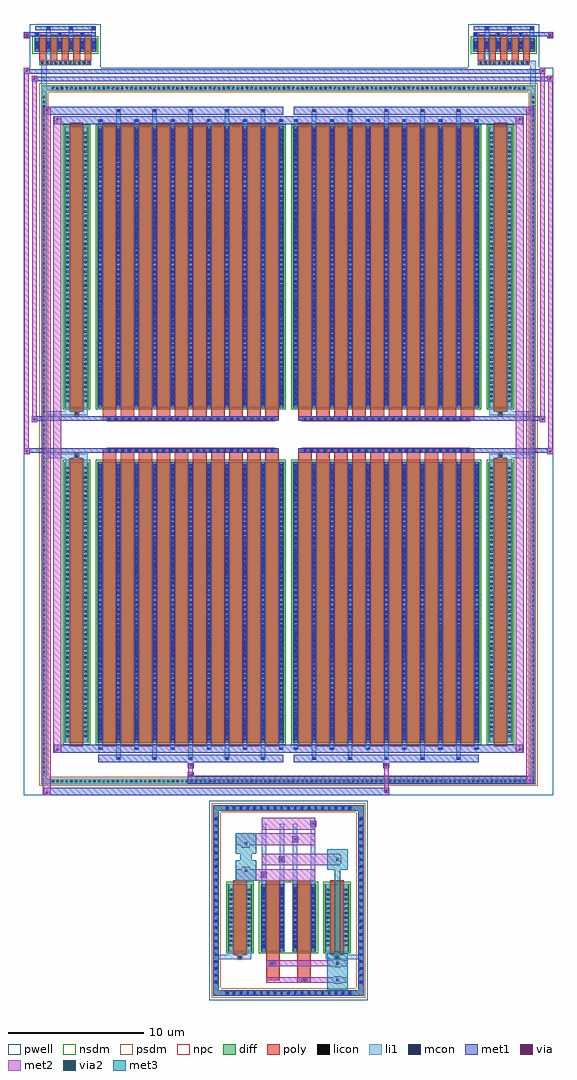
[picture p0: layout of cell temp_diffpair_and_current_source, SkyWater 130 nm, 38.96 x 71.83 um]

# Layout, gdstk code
import gdstk
lib = gdstk.Library(unit=1e-6, precision=5e-09)
def R(c, l, rs):  # rectangles x0, y0, x1, y1
    for r in rs: c.add(gdstk.rectangle(r[:2], r[2:], *l))
def A(c, l, x, y, w, h, nx, ny, dx, dy):  # array of equal rectangles
    R(c, l, [(x+i*dx, y+j*dy, x+i*dx+w, y+j*dy+h) for i in range(nx) for j in range(ny)])
def P(c, l, *ps):  # polygons
    for p in ps: c.add(gdstk.Polygon(p, *l))
pwell = (64, 44)
diff = (65, 20)
poly = (66, 20)
licon = (66, 44)
li1 = (67, 20)
mcon = (67, 44)
met1 = (68, 20)
via = (68, 44)
met2 = (69, 20)
via2 = (69, 44)
met3 = (70, 20)
nsdm = (93, 44)
psdm = (94, 20)
npc = (95, 20)

diff_pair_f8a0ee7f = lib.new_cell('diff_pair_f8a0ee7f')
R(diff_pair_f8a0ee7f, pwell, [(-19.48,-26.56,19.48,26.99), (-16.8,-24.31,-0.01,-0.805), (0.01,-24.31,16.8,-0.805), (-16.8,0.805,-0.01,24.31), (0.01,0.805,16.8,24.31)])
A(diff_pair_f8a0ee7f, diff, -17.545, -25.72, 0.41, 0.41, 103, 2, 0.34, 51.03)
A(diff_pair_f8a0ee7f, diff, -18.21, -25.025, 0.41, 0.41, 1, 147, 0, 0.34)
A(diff_pair_f8a0ee7f, diff, 17.8, -25.025, 0.41, 0.41, 1, 147, 0, 0.34)
R(diff_pair_f8a0ee7f, diff, [(-17.545,-25.72,17.545,-25.31), (-18.21,-25.025,-17.8,25.025), (17.8,-25.025,18.21,25.025), (-16.49,-22.685,-14.71,-1.985), (-14.07,-22.685,-0.32,-1.985), (0.32,-22.685,14.07,-1.985), (14.71,-22.685,16.49,-1.985), (-16.49,1.985,-14.71,22.685), (-14.07,1.985,-0.32,22.685), (0.32,1.985,14.07,22.685), (14.71,1.985,16.49,22.685), (-17.545,25.31,17.545,25.72)])
P(diff_pair_f8a0ee7f, diff, [(18.21,25.72),(-18.21,25.72),(-18.21,-25.31),(-17.8,-25.31),(-17.8,25.31),(17.8,25.31),(17.8,-25.31),(-17.8,-25.31),(-18.21,-25.31),(-18.21,-25.72),(18.21,-25.72)])
A(diff_pair_f8a0ee7f, poly, -13.68, -22.935, 1, 21.2, 10, 2, 1.33, 24.67)
A(diff_pair_f8a0ee7f, poly, 0.71, -22.935, 1, 21.2, 10, 2, 1.33, 24.67)
A(diff_pair_f8a0ee7f, poly, -13.68, -1.735, 1, 0.4, 10, 2, 1.33, 3.07)
A(diff_pair_f8a0ee7f, poly, 0.71, -1.735, 1, 0.4, 10, 2, 1.33, 3.07)
A(diff_pair_f8a0ee7f, poly, -13.36, -1.335, 0.33, 0.33, 25, 2, 0.5, 2.34)
A(diff_pair_f8a0ee7f, poly, 1.03, -1.335, 0.33, 0.33, 25, 2, 0.5, 2.34)
R(diff_pair_f8a0ee7f, poly, [(-16.1,-22.935,-15.1,-1.735), (15.1,-22.935,16.1,-1.735), (-15.765,-1.735,-15.435,-1.405), (-15.765,-1.735,-15.435,-1.405), (15.435,-1.735,15.765,-1.405), (15.435,-1.735,15.765,-1.405), (-13.68,-1.335,-0.71,-1.005), (0.71,-1.335,13.68,-1.005), (-13.68,1.005,-0.71,1.335), (0.71,1.005,13.68,1.335), (-15.765,1.405,-15.435,1.735), (-15.765,1.405,-15.435,1.735), (15.435,1.405,15.765,1.735), (15.435,1.405,15.765,1.735), (-16.1,1.735,-15.1,22.935), (15.1,1.735,16.1,22.935)])
A(diff_pair_f8a0ee7f, licon, -17.425, -25.6, 0.17, 0.17, 103, 2, 0.34, 51.03)
A(diff_pair_f8a0ee7f, licon, -18.09, -24.905, 0.17, 0.17, 1, 147, 0, 0.34)
A(diff_pair_f8a0ee7f, licon, 17.92, -24.905, 0.17, 0.17, 1, 147, 0, 0.34)
A(diff_pair_f8a0ee7f, licon, -16.35, -22.28, 0.17, 0.17, 1, 59, 0, 0.34)
A(diff_pair_f8a0ee7f, licon, -15.02, -22.28, 0.17, 0.17, 1, 59, 0, 0.34)
A(diff_pair_f8a0ee7f, licon, -13.93, -22.28, 0.17, 0.17, 11, 59, 1.33, 0.34)
A(diff_pair_f8a0ee7f, licon, 0.46, -22.28, 0.17, 0.17, 11, 59, 1.33, 0.34)
A(diff_pair_f8a0ee7f, licon, 14.85, -22.28, 0.17, 0.17, 1, 59, 0, 0.34)
A(diff_pair_f8a0ee7f, licon, 16.18, -22.28, 0.17, 0.17, 1, 59, 0, 0.34)
A(diff_pair_f8a0ee7f, licon, -13.28, -1.255, 0.17, 0.17, 25, 2, 0.5, 2.34)
A(diff_pair_f8a0ee7f, licon, 1.11, -1.255, 0.17, 0.17, 25, 2, 0.5, 2.34)
A(diff_pair_f8a0ee7f, licon, -16.35, 2.39, 0.17, 0.17, 1, 59, 0, 0.34)
A(diff_pair_f8a0ee7f, licon, -15.02, 2.39, 0.17, 0.17, 1, 59, 0, 0.34)
A(diff_pair_f8a0ee7f, licon, -13.93, 2.39, 0.17, 0.17, 11, 59, 1.33, 0.34)
A(diff_pair_f8a0ee7f, licon, 0.46, 2.39, 0.17, 0.17, 11, 59, 1.33, 0.34)
A(diff_pair_f8a0ee7f, licon, 14.85, 2.39, 0.17, 0.17, 1, 59, 0, 0.34)
A(diff_pair_f8a0ee7f, licon, 16.18, 2.39, 0.17, 0.17, 1, 59, 0, 0.34)
R(diff_pair_f8a0ee7f, licon, [(-15.685,-1.655,-15.515,-1.485), (15.515,-1.655,15.685,-1.485), (-15.685,1.485,-15.515,1.655), (15.515,1.485,15.685,1.655)])
A(diff_pair_f8a0ee7f, li1, -17.505, -25.68, 0.33, 0.33, 103, 2, 0.34, 51.03)
A(diff_pair_f8a0ee7f, li1, -18.17, -24.985, 0.33, 0.33, 1, 147, 0, 0.34)
A(diff_pair_f8a0ee7f, li1, 17.84, -24.985, 0.33, 0.33, 1, 147, 0, 0.34)
A(diff_pair_f8a0ee7f, li1, -12.68, -23.925, 0.33, 1.24, 5, 2, 2.66, 46.61)
A(diff_pair_f8a0ee7f, li1, -12.6, -23.925, 0.17, 0.17, 5, 2, 2.66, 47.68)
A(diff_pair_f8a0ee7f, li1, 1.71, -23.925, 0.33, 1.24, 5, 2, 2.66, 46.61)
A(diff_pair_f8a0ee7f, li1, 1.79, -23.925, 0.17, 0.17, 5, 2, 2.66, 47.68)
A(diff_pair_f8a0ee7f, li1, -14.01, -23.205, 0.33, 0.52, 6, 2, 2.66, 45.89)
A(diff_pair_f8a0ee7f, li1, -13.93, -23.205, 0.17, 0.17, 6, 2, 2.66, 46.24)
A(diff_pair_f8a0ee7f, li1, 0.38, -23.205, 0.33, 0.52, 6, 2, 2.66, 45.89)
A(diff_pair_f8a0ee7f, li1, 0.46, -23.205, 0.17, 0.17, 6, 2, 2.66, 46.24)
A(diff_pair_f8a0ee7f, li1, -14.01, -22.685, 0.33, 20.7, 11, 2, 1.33, 24.67)
A(diff_pair_f8a0ee7f, li1, 0.38, -22.685, 0.33, 20.7, 11, 2, 1.33, 24.67)
A(diff_pair_f8a0ee7f, li1, -13.93, -22.5, 0.17, 0.17, 11, 57, 1.33, 0.36)
A(diff_pair_f8a0ee7f, li1, -13.93, -22.5, 0.17, 20.33, 11, 2, 1.33, 24.67)
A(diff_pair_f8a0ee7f, li1, 0.46, -22.5, 0.17, 0.17, 11, 57, 1.33, 0.36)
A(diff_pair_f8a0ee7f, li1, 0.46, -22.5, 0.17, 20.33, 11, 2, 1.33, 24.67)
A(diff_pair_f8a0ee7f, li1, -16.43, -22.36, 0.33, 0.33, 1, 59, 0, 0.34)
A(diff_pair_f8a0ee7f, li1, -15.1, -22.36, 0.33, 0.33, 1, 59, 0, 0.34)
A(diff_pair_f8a0ee7f, li1, -14.01, -22.36, 0.33, 0.33, 11, 59, 1.33, 0.34)
A(diff_pair_f8a0ee7f, li1, 0.38, -22.36, 0.33, 0.33, 11, 59, 1.33, 0.34)
A(diff_pair_f8a0ee7f, li1, 14.77, -22.36, 0.33, 0.33, 1, 59, 0, 0.34)
A(diff_pair_f8a0ee7f, li1, 16.1, -22.36, 0.33, 0.33, 1, 59, 0, 0.34)
A(diff_pair_f8a0ee7f, li1, -13.36, -1.335, 0.33, 0.33, 25, 2, 0.5, 2.34)
A(diff_pair_f8a0ee7f, li1, 1.03, -1.335, 0.33, 0.33, 25, 2, 0.5, 2.34)
A(diff_pair_f8a0ee7f, li1, -13.93, 2.17, 0.17, 0.17, 11, 57, 1.33, 0.36)
A(diff_pair_f8a0ee7f, li1, 0.46, 2.17, 0.17, 0.17, 11, 57, 1.33, 0.36)
A(diff_pair_f8a0ee7f, li1, -16.43, 2.31, 0.33, 0.33, 1, 59, 0, 0.34)
A(diff_pair_f8a0ee7f, li1, -15.1, 2.31, 0.33, 0.33, 1, 59, 0, 0.34)
A(diff_pair_f8a0ee7f, li1, -14.01, 2.31, 0.33, 0.33, 11, 59, 1.33, 0.34)
A(diff_pair_f8a0ee7f, li1, 0.38, 2.31, 0.33, 0.33, 11, 59, 1.33, 0.34)
A(diff_pair_f8a0ee7f, li1, 14.77, 2.31, 0.33, 0.33, 1, 59, 0, 0.34)
A(diff_pair_f8a0ee7f, li1, 16.1, 2.31, 0.33, 0.33, 1, 59, 0, 0.34)
R(diff_pair_f8a0ee7f, li1, [(-18.21,-25.72,-17.8,-25.31), (-18.21,-25.72,-17.8,-25.31), (-17.8,-25.72,17.8,-25.31), (17.8,-25.72,18.21,-25.31), (17.8,-25.72,18.21,-25.31), (-18.21,-25.31,-17.8,25.31), (17.8,-25.31,18.21,25.31), (-16.43,-22.685,-16.1,-1.985), (-15.1,-22.685,-14.77,-1.985), (14.77,-22.685,15.1,-1.985), (16.1,-22.685,16.43,-1.985), (-16.43,-1.985,-16.1,-1.405), (-15.1,-1.985,-14.77,-1.405), (14.77,-1.985,15.1,-1.405), (16.1,-1.985,16.43,-1.405), (-18.21,-1.735,-15.765,-1.405), (-16.43,-1.735,-15.765,-1.405), (-15.765,-1.735,-15.435,-1.405), (-15.435,-1.735,-14.77,-1.405), (14.77,-1.735,15.435,-1.405), (15.435,-1.735,15.765,-1.405), (15.435,-1.735,18.21,-1.405), (15.765,-1.735,16.43,-1.405), (-18.21,1.405,-15.765,1.735), (-16.43,1.405,-15.765,1.735), (-16.43,1.405,-16.1,1.985), (-15.765,1.405,-15.435,1.735), (-15.435,1.405,-14.77,1.735), (-15.1,1.405,-14.77,1.985), (14.77,1.405,15.435,1.735), (14.77,1.405,15.1,1.985), (15.435,1.405,15.765,1.735), (15.435,1.405,18.21,1.735), (15.765,1.405,16.43,1.735), (16.1,1.405,16.43,1.985), (-16.43,1.985,-16.1,22.685), (-15.1,1.985,-14.77,22.685), (14.77,1.985,15.1,22.685), (16.1,1.985,16.43,22.685), (-18.21,25.31,-17.8,25.72), (-18.21,25.31,-17.8,25.72), (-17.8,25.31,17.8,25.72), (17.8,25.31,18.21,25.72), (17.8,25.31,18.21,25.72)])
A(diff_pair_f8a0ee7f, mcon, -12.6, -23.925, 0.17, 0.17, 5, 2, 2.66, 47.68)
A(diff_pair_f8a0ee7f, mcon, 1.79, -23.925, 0.17, 0.17, 5, 2, 2.66, 47.68)
A(diff_pair_f8a0ee7f, mcon, -13.93, -23.205, 0.17, 0.17, 6, 2, 2.66, 46.24)
A(diff_pair_f8a0ee7f, mcon, 0.46, -23.205, 0.17, 0.17, 6, 2, 2.66, 46.24)
A(diff_pair_f8a0ee7f, mcon, -13.93, -22.5, 0.17, 0.17, 11, 57, 1.33, 0.36)
A(diff_pair_f8a0ee7f, mcon, 0.46, -22.5, 0.17, 0.17, 11, 57, 1.33, 0.36)
A(diff_pair_f8a0ee7f, mcon, -13.28, -1.255, 0.17, 0.17, 25, 2, 0.5, 2.34)
A(diff_pair_f8a0ee7f, mcon, 1.11, -1.255, 0.17, 0.17, 25, 2, 0.5, 2.34)
A(diff_pair_f8a0ee7f, mcon, -13.93, 2.17, 0.17, 0.17, 11, 57, 1.33, 0.36)
A(diff_pair_f8a0ee7f, mcon, 0.46, 2.17, 0.17, 0.17, 11, 57, 1.33, 0.36)
A(diff_pair_f8a0ee7f, met1, -12.66, -23.985, 0.29, 0.29, 5, 2, 2.66, 47.68)
A(diff_pair_f8a0ee7f, met1, 1.73, -23.985, 0.29, 0.29, 5, 2, 2.66, 47.68)
A(diff_pair_f8a0ee7f, met1, -13.99, -23.265, 0.29, 0.29, 6, 2, 2.66, 46.24)
A(diff_pair_f8a0ee7f, met1, 0.4, -23.265, 0.29, 0.29, 6, 2, 2.66, 46.24)
A(diff_pair_f8a0ee7f, met1, -13.99, -22.685, 0.29, 20.7, 11, 2, 1.33, 24.67)
A(diff_pair_f8a0ee7f, met1, 0.4, -22.685, 0.29, 20.7, 11, 2, 1.33, 24.67)
A(diff_pair_f8a0ee7f, met1, -13.99, -22.56, 0.29, 0.29, 11, 57, 1.33, 0.36)
A(diff_pair_f8a0ee7f, met1, 0.4, -22.56, 0.29, 0.29, 11, 57, 1.33, 0.36)
A(diff_pair_f8a0ee7f, met1, -13.34, -1.315, 0.29, 0.29, 25, 2, 0.5, 2.34)
A(diff_pair_f8a0ee7f, met1, 1.05, -1.315, 0.29, 0.29, 25, 2, 0.5, 2.34)
A(diff_pair_f8a0ee7f, met1, -13.99, 2.11, 0.29, 0.29, 11, 57, 1.33, 0.36)
A(diff_pair_f8a0ee7f, met1, 0.4, 2.11, 0.29, 0.29, 11, 57, 1.33, 0.36)
R(diff_pair_f8a0ee7f, met1, [(-18.015,-26.56,-17.585,-26.13), (-18.015,-26.56,7.41,-25.98), (6.98,-26.41,7.41,-25.98), (-7.41,-25.7,18.015,-25.12), (17.585,-25.7,18.015,-25.27), (-7.41,-25.27,-6.98,-24.84), (-7.41,-24.56,-6.98,-24.13), (6.98,-24.56,7.41,-24.13), (-13.99,-24.13,-0.4,-23.55), (0.4,-24.13,13.99,-23.55), (-17.23,-23.41,-16.8,-22.98), (-17.23,-23.41,-13.99,-22.83), (-13.99,-23.41,-0.4,-22.83), (-0.4,-23.41,0.4,-22.83), (0.4,-23.41,13.99,-22.83), (13.99,-23.41,17.23,-22.83), (16.8,-23.41,17.23,-22.98), (-19.48,-1.435,-19.05,-1.005), (19.05,-1.435,19.48,-1.005), (-19.48,-1.335,-0.71,-1.005), (-13.68,-1.335,-0.71,-1.005), (0.71,-1.335,13.68,-1.005), (0.71,-1.335,19.48,-1.005), (-18.91,0.905,-18.48,1.335), (18.48,0.905,18.91,1.335), (-18.91,1.005,-13.68,1.335), (-13.68,1.005,-0.71,1.335), (0.71,1.005,13.68,1.335), (13.68,1.005,18.91,1.335), (-17.23,22.83,-13.99,23.41), (-13.99,22.83,-0.4,23.41), (-0.4,22.83,0.4,23.41), (0.4,22.83,13.99,23.41), (13.99,22.83,17.23,23.41), (-17.23,22.98,-16.8,23.41), (16.8,22.98,17.23,23.41), (-18.015,23.55,-13.99,24.13), (-13.99,23.55,-0.4,24.13), (0.4,23.55,13.99,24.13), (13.99,23.55,18.015,24.13), (-18.015,23.7,-17.585,24.13), (17.585,23.7,18.015,24.13), (-18.91,25.99,-18.48,26.42), (-18.91,25.99,-16.8,26.32), (-16.8,25.99,16.8,26.32), (16.8,25.99,19.48,26.32), (19.05,25.99,19.48,26.42), (-19.48,26.56,-19.05,26.99), (-19.48,26.56,-16.8,26.89), (-16.8,26.56,16.8,26.89), (16.8,26.56,18.91,26.89), (18.48,26.56,18.91,26.99)])
R(diff_pair_f8a0ee7f, via, [(-17.875,-26.42,-17.725,-26.27), (7.12,-26.27,7.27,-26.12), (17.725,-25.56,17.875,-25.41), (-7.27,-25.13,-7.12,-24.98), (-7.27,-24.42,-7.12,-24.27), (7.12,-24.42,7.27,-24.27), (-17.09,-23.27,-16.94,-23.12), (16.94,-23.27,17.09,-23.12), (-19.34,-1.295,-19.19,-1.145), (19.19,-1.295,19.34,-1.145), (-18.77,1.045,-18.62,1.195), (18.62,1.045,18.77,1.195), (-17.09,23.12,-16.94,23.27), (16.94,23.12,17.09,23.27), (-17.875,23.84,-17.725,23.99), (17.725,23.84,17.875,23.99), (-18.77,26.13,-18.62,26.28), (19.19,26.13,19.34,26.28), (-19.34,26.7,-19.19,26.85), (18.62,26.7,18.77,26.85)])
R(diff_pair_f8a0ee7f, met2, [(-18.09,-26.56,-17.51,24.13), (-18.015,-26.56,-17.585,-26.13), (-17.585,-26.56,-17.51,-26.13), (-17.965,-26.51,-17.635,-26.18), (7.03,-26.36,7.36,-26.03), (7.03,-26.03,7.36,-24.51), (17.51,-25.7,18.09,24.13), (17.585,-25.7,18.015,-25.27), (18.015,-25.7,18.09,-25.27), (17.635,-25.65,17.965,-25.32), (-7.36,-25.22,-7.03,-24.89), (-7.36,-24.89,-7.03,-24.51), (-7.36,-24.51,-7.03,-24.18), (7.03,-24.51,7.36,-24.18), (-17.305,-23.41,-16.725,23.41), (-17.23,-23.41,-16.8,-22.98), (-16.8,-23.41,-16.725,-22.98), (16.725,-23.41,17.305,23.41), (16.8,-23.41,17.23,-22.98), (17.23,-23.41,17.305,-22.98), (-17.18,-23.36,-16.85,-23.03), (16.85,-23.36,17.18,-23.03), (-19.48,-1.435,-19.05,-1.005), (-19.43,-1.435,-19.1,26.99), (-19.1,-1.435,-19.05,-1.005), (19.05,-1.435,19.48,-1.005), (19.1,-1.435,19.43,26.42), (19.43,-1.435,19.48,-1.005), (-19.43,-1.385,-19.1,-1.055), (19.1,-1.385,19.43,-1.055), (-18.91,0.905,-18.48,1.335), (-18.86,0.905,-18.53,26.42), (-18.53,0.905,-18.48,1.335), (18.48,0.905,18.91,1.335), (18.53,0.905,18.86,26.99), (18.86,0.905,18.91,1.335), (-18.86,0.955,-18.53,1.285), (18.53,0.955,18.86,1.285), (-17.23,22.98,-16.8,23.41), (-16.8,22.98,-16.725,23.41), (16.8,22.98,17.23,23.41), (17.23,22.98,17.305,23.41), (-17.18,23.03,-16.85,23.36), (16.85,23.03,17.18,23.36), (-18.015,23.7,-17.585,24.13), (-17.585,23.7,-17.51,24.13), (17.585,23.7,18.015,24.13), (18.015,23.7,18.09,24.13), (-17.965,23.75,-17.635,24.08), (17.635,23.75,17.965,24.08), (-18.91,25.99,-18.48,26.42), (-18.53,25.99,-18.48,26.42), (19.05,25.99,19.48,26.42), (19.43,25.99,19.48,26.42), (-18.86,26.04,-18.53,26.37), (19.1,26.04,19.43,26.37), (-19.48,26.56,-19.05,26.99), (-19.1,26.56,-19.05,26.99), (18.48,26.56,18.91,26.99), (18.86,26.56,18.91,26.99), (-19.43,26.61,-19.1,26.94), (18.53,26.61,18.86,26.94)])
R(diff_pair_f8a0ee7f, nsdm, [(-16.62,-22.815,-14.58,-1.855), (-14.2,-22.815,-0.19,-1.855), (0.19,-22.815,14.2,-1.855), (14.58,-22.815,16.62,-1.855), (-16.62,1.855,-14.58,22.815), (-14.2,1.855,-0.19,22.815), (0.19,1.855,14.2,22.815), (14.58,1.855,16.62,22.815)])
P(diff_pair_f8a0ee7f, psdm, [(18.34,25.85),(-18.34,25.85),(-18.34,-25.18),(-17.67,-25.18),(-17.67,25.18),(17.67,25.18),(17.67,-25.18),(-17.67,-25.18),(-18.34,-25.18),(-18.34,-25.85),(18.34,-25.85)])
A(diff_pair_f8a0ee7f, npc, -13.38, -1.355, 0.37, 0.37, 25, 2, 0.5, 2.34)
A(diff_pair_f8a0ee7f, npc, 1.01, -1.355, 0.37, 0.37, 25, 2, 0.5, 2.34)
R(diff_pair_f8a0ee7f, npc, [(-15.785,-1.755,-15.415,-1.385), (15.415,-1.755,15.785,-1.385), (-13.38,-1.355,-12.51,-0.985), (-13.38,-1.355,-12.51,-0.985), (-12.88,-1.355,-12.01,-0.985), (-12.88,-1.355,-12.01,-0.985), (-12.38,-1.355,-11.51,-0.985), (-12.38,-1.355,-11.51,-0.985), (-11.88,-1.355,-11.01,-0.985), (-11.88,-1.355,-11.01,-0.985), (-11.38,-1.355,-10.51,-0.985), (-11.38,-1.355,-10.51,-0.985), (-10.88,-1.355,-10.01,-0.985), (-10.88,-1.355,-10.01,-0.985), (-10.38,-1.355,-9.51,-0.985), (-10.38,-1.355,-9.51,-0.985), (-9.88,-1.355,-9.01,-0.985), (-9.88,-1.355,-9.01,-0.985), (-9.38,-1.355,-8.51,-0.985), (-9.38,-1.355,-8.51,-0.985), (-8.88,-1.355,-8.01,-0.985), (-8.88,-1.355,-8.01,-0.985), (-8.38,-1.355,-7.51,-0.985), (-8.38,-1.355,-7.51,-0.985), (-7.88,-1.355,-7.01,-0.985), (-7.88,-1.355,-7.01,-0.985), (-7.38,-1.355,-6.51,-0.985), (-7.38,-1.355,-6.51,-0.985), (-6.88,-1.355,-6.01,-0.985), (-6.88,-1.355,-6.01,-0.985), (-6.38,-1.355,-5.51,-0.985), (-6.38,-1.355,-5.51,-0.985), (-5.88,-1.355,-5.01,-0.985), (-5.88,-1.355,-5.01,-0.985), (-5.38,-1.355,-4.51,-0.985), (-5.38,-1.355,-4.51,-0.985), (-4.88,-1.355,-4.01,-0.985), (-4.88,-1.355,-4.01,-0.985), (-4.38,-1.355,-3.51,-0.985), (-4.38,-1.355,-3.51,-0.985), (-3.88,-1.355,-3.01,-0.985), (-3.88,-1.355,-3.01,-0.985), (-3.38,-1.355,-2.51,-0.985), (-3.38,-1.355,-2.51,-0.985), (-2.88,-1.355,-2.01,-0.985), (-2.88,-1.355,-2.01,-0.985), (-2.38,-1.355,-1.51,-0.985), (-2.38,-1.355,-1.51,-0.985), (-1.88,-1.355,-1.01,-0.985), (-1.88,-1.355,-1.01,-0.985), (1.01,-1.355,1.88,-0.985), (1.01,-1.355,1.88,-0.985), (1.51,-1.355,2.38,-0.985), (1.51,-1.355,2.38,-0.985), (2.01,-1.355,2.88,-0.985), (2.01,-1.355,2.88,-0.985), (2.51,-1.355,3.38,-0.985), (2.51,-1.355,3.38,-0.985), (3.01,-1.355,3.88,-0.985), (3.01,-1.355,3.88,-0.985), (3.51,-1.355,4.38,-0.985), (3.51,-1.355,4.38,-0.985), (4.01,-1.355,4.88,-0.985), (4.01,-1.355,4.88,-0.985), (4.51,-1.355,5.38,-0.985), (4.51,-1.355,5.38,-0.985), (5.01,-1.355,5.88,-0.985), (5.01,-1.355,5.88,-0.985), (5.51,-1.355,6.38,-0.985), (5.51,-1.355,6.38,-0.985), (6.01,-1.355,6.88,-0.985), (6.01,-1.355,6.88,-0.985), (6.51,-1.355,7.38,-0.985), (6.51,-1.355,7.38,-0.985), (7.01,-1.355,7.88,-0.985), (7.01,-1.355,7.88,-0.985), (7.51,-1.355,8.38,-0.985), (7.51,-1.355,8.38,-0.985), (8.01,-1.355,8.88,-0.985), (8.01,-1.355,8.88,-0.985), (8.51,-1.355,9.38,-0.985), (8.51,-1.355,9.38,-0.985), (9.01,-1.355,9.88,-0.985), (9.01,-1.355,9.88,-0.985), (9.51,-1.355,10.38,-0.985), (9.51,-1.355,10.38,-0.985), (10.01,-1.355,10.88,-0.985), (10.01,-1.355,10.88,-0.985), (10.51,-1.355,11.38,-0.985), (10.51,-1.355,11.38,-0.985), (11.01,-1.355,11.88,-0.985), (11.01,-1.355,11.88,-0.985), (11.51,-1.355,12.38,-0.985), (11.51,-1.355,12.38,-0.985), (12.01,-1.355,12.88,-0.985), (12.01,-1.355,12.88,-0.985), (12.51,-1.355,13.38,-0.985), (12.51,-1.355,13.38,-0.985), (-13.38,0.985,-12.51,1.355), (-13.38,0.985,-12.51,1.355), (-12.88,0.985,-12.01,1.355), (-12.88,0.985,-12.01,1.355), (-12.38,0.985,-11.51,1.355), (-12.38,0.985,-11.51,1.355), (-11.88,0.985,-11.01,1.355), (-11.88,0.985,-11.01,1.355), (-11.38,0.985,-10.51,1.355), (-11.38,0.985,-10.51,1.355), (-10.88,0.985,-10.01,1.355), (-10.88,0.985,-10.01,1.355), (-10.38,0.985,-9.51,1.355), (-10.38,0.985,-9.51,1.355), (-9.88,0.985,-9.01,1.355), (-9.88,0.985,-9.01,1.355), (-9.38,0.985,-8.51,1.355), (-9.38,0.985,-8.51,1.355), (-8.88,0.985,-8.01,1.355), (-8.88,0.985,-8.01,1.355), (-8.38,0.985,-7.51,1.355), (-8.38,0.985,-7.51,1.355), (-7.88,0.985,-7.01,1.355), (-7.88,0.985,-7.01,1.355), (-7.38,0.985,-6.51,1.355), (-7.38,0.985,-6.51,1.355), (-6.88,0.985,-6.01,1.355), (-6.88,0.985,-6.01,1.355), (-6.38,0.985,-5.51,1.355), (-6.38,0.985,-5.51,1.355), (-5.88,0.985,-5.01,1.355), (-5.88,0.985,-5.01,1.355), (-5.38,0.985,-4.51,1.355), (-5.38,0.985,-4.51,1.355), (-4.88,0.985,-4.01,1.355), (-4.88,0.985,-4.01,1.355), (-4.38,0.985,-3.51,1.355), (-4.38,0.985,-3.51,1.355), (-3.88,0.985,-3.01,1.355), (-3.88,0.985,-3.01,1.355), (-3.38,0.985,-2.51,1.355), (-3.38,0.985,-2.51,1.355), (-2.88,0.985,-2.01,1.355), (-2.88,0.985,-2.01,1.355), (-2.38,0.985,-1.51,1.355), (-2.38,0.985,-1.51,1.355), (-1.88,0.985,-1.01,1.355), (-1.88,0.985,-1.01,1.355), (1.01,0.985,1.88,1.355), (1.01,0.985,1.88,1.355), (1.51,0.985,2.38,1.355), (1.51,0.985,2.38,1.355), (2.01,0.985,2.88,1.355), (2.01,0.985,2.88,1.355), (2.51,0.985,3.38,1.355), (2.51,0.985,3.38,1.355), (3.01,0.985,3.88,1.355), (3.01,0.985,3.88,1.355), (3.51,0.985,4.38,1.355), (3.51,0.985,4.38,1.355), (4.01,0.985,4.88,1.355), (4.01,0.985,4.88,1.355), (4.51,0.985,5.38,1.355), (4.51,0.985,5.38,1.355), (5.01,0.985,5.88,1.355), (5.01,0.985,5.88,1.355), (5.51,0.985,6.38,1.355), (5.51,0.985,6.38,1.355), (6.01,0.985,6.88,1.355), (6.01,0.985,6.88,1.355), (6.51,0.985,7.38,1.355), (6.51,0.985,7.38,1.355), (7.01,0.985,7.88,1.355), (7.01,0.985,7.88,1.355), (7.51,0.985,8.38,1.355), (7.51,0.985,8.38,1.355), (8.01,0.985,8.88,1.355), (8.01,0.985,8.88,1.355), (8.51,0.985,9.38,1.355), (8.51,0.985,9.38,1.355), (9.01,0.985,9.88,1.355), (9.01,0.985,9.88,1.355), (9.51,0.985,10.38,1.355), (9.51,0.985,10.38,1.355), (10.01,0.985,10.88,1.355), (10.01,0.985,10.88,1.355), (10.51,0.985,11.38,1.355), (10.51,0.985,11.38,1.355), (11.01,0.985,11.88,1.355), (11.01,0.985,11.88,1.355), (11.51,0.985,12.38,1.355), (11.51,0.985,12.38,1.355), (12.01,0.985,12.88,1.355), (12.01,0.985,12.88,1.355), (12.51,0.985,13.38,1.355), (12.51,0.985,13.38,1.355), (-15.785,1.385,-15.415,1.755), (15.415,1.385,15.785,1.755)])

straight_route_dc549303 = lib.new_cell('straight_route_dc549303')
R(straight_route_dc549303, li1, [(-1.41,-1.08,-1.08,-0.43)])

unnamed_bedca69d = lib.new_cell('Unnamed_bedca69d')
R(unnamed_bedca69d, pwell, [(-2.61,-1.61,2.61,1.615)])
R(unnamed_bedca69d, diff, [(-2.3,-0.43,2.3,0.57)])
A(unnamed_bedca69d, poly, -1.865, -1.41, 0.33, 0.33, 11, 1, 0.34, 0)
A(unnamed_bedca69d, poly, -1.91, -1.08, 0.5, 0.4, 5, 1, 0.83, 0)
A(unnamed_bedca69d, poly, -1.91, -0.68, 0.5, 1.5, 5, 1, 0.83, 0)
R(unnamed_bedca69d, poly, [(-1.91,-1.41,1.91,-1.08)])
A(unnamed_bedca69d, licon, -1.785, -1.33, 0.17, 0.17, 11, 1, 0.34, 0)
A(unnamed_bedca69d, licon, -2.16, -0.015, 0.17, 0.17, 6, 1, 0.83, 0)
A(unnamed_bedca69d, li1, -1.865, -1.41, 0.33, 0.33, 11, 1, 0.34, 0)
A(unnamed_bedca69d, li1, -2.24, -0.43, 0.33, 1, 6, 1, 0.83, 0)
A(unnamed_bedca69d, li1, -2.16, -0.195, 0.17, 0.17, 6, 2, 0.83, 0.36)
A(unnamed_bedca69d, li1, -2.16, -0.195, 0.17, 0.53, 6, 1, 0.83, 0)
A(unnamed_bedca69d, li1, -2.24, -0.095, 0.33, 0.33, 6, 1, 0.83, 0)
A(unnamed_bedca69d, li1, -2.24, 0.57, 0.33, 0.375, 3, 1, 1.66, 0)
A(unnamed_bedca69d, li1, -1.41, 0.57, 0.33, 0.805, 3, 1, 1.66, 0)
A(unnamed_bedca69d, li1, -2.16, 0.775, 0.17, 0.17, 3, 1, 1.66, 0)
A(unnamed_bedca69d, li1, -1.33, 1.205, 0.17, 0.17, 3, 1, 1.66, 0)
R(unnamed_bedca69d, li1, [(-1.91,-1.41,1.91,-1.08)])
A(unnamed_bedca69d, mcon, -2.16, -0.195, 0.17, 0.17, 6, 2, 0.83, 0.36)
A(unnamed_bedca69d, mcon, -2.16, 0.775, 0.17, 0.17, 3, 1, 1.66, 0)
A(unnamed_bedca69d, mcon, -1.33, 1.205, 0.17, 0.17, 3, 1, 1.66, 0)
A(unnamed_bedca69d, met1, -2.22, -0.43, 0.29, 1, 6, 1, 0.83, 0)
A(unnamed_bedca69d, met1, -2.22, -0.255, 0.29, 0.29, 6, 2, 0.83, 0.36)
A(unnamed_bedca69d, met1, -2.22, 0.715, 0.29, 0.29, 3, 1, 1.66, 0)
A(unnamed_bedca69d, met1, -1.39, 1.145, 0.29, 0.29, 3, 1, 1.66, 0)
R(unnamed_bedca69d, met1, [(-2.22,0.715,2.22,1.005), (-2.22,1.145,2.22,1.435)])
R(unnamed_bedca69d, nsdm, [(-2.43,-0.56,2.43,0.7)])
A(unnamed_bedca69d, npc, -1.885, -1.43, 0.37, 0.37, 11, 1, 0.34, 0)
R(unnamed_bedca69d, npc, [(-1.885,-1.43,-1.175,-1.06), (-1.885,-1.43,-1.175,-1.06), (-1.545,-1.43,-0.835,-1.06), (-1.545,-1.43,-0.835,-1.06), (-1.205,-1.43,-0.495,-1.06), (-1.205,-1.43,-0.495,-1.06), (-0.865,-1.43,-0.155,-1.06), (-0.865,-1.43,-0.155,-1.06), (-0.525,-1.43,0.185,-1.06), (-0.525,-1.43,0.185,-1.06), (-0.185,-1.43,0.525,-1.06), (-0.185,-1.43,0.525,-1.06), (0.155,-1.43,0.865,-1.06), (0.155,-1.43,0.865,-1.06), (0.495,-1.43,1.205,-1.06), (0.495,-1.43,1.205,-1.06), (0.835,-1.43,1.545,-1.06), (0.835,-1.43,1.545,-1.06), (1.175,-1.43,1.885,-1.06), (1.175,-1.43,1.885,-1.06)])
unnamed_bedca69d.add(gdstk.Reference(straight_route_dc549303, (0,0)))

l_route_74e29d9d = lib.new_cell('L_route_74e29d9d')
R(l_route_74e29d9d, li1, [(-18.21,25.095,-17.8,27.305), (-18.21,26.975,-14.51,27.305)])

l_route_fec48ba7 = lib.new_cell('L_route_fec48ba7')
R(l_route_fec48ba7, li1, [(17.8,25.095,18.21,27.305), (13.94,26.975,18.21,27.305)])

straight_route_359b4630 = lib.new_cell('straight_route_359b4630')
R(straight_route_359b4630, met1, [(-19.48,28.96,-19.05,29.39), (-19.265,29.1,-18.64,29.39)])
R(straight_route_359b4630, via, [(-19.34,29.1,-19.19,29.25)])
R(straight_route_359b4630, met2, [(-19.43,29.01,-19.1,29.34)])

straight_route_abc1426a = lib.new_cell('straight_route_abc1426a')
R(straight_route_abc1426a, met1, [(19.05,28.96,19.48,29.39), (13.63,29.1,19.265,29.39)])
R(straight_route_abc1426a, via, [(19.19,29.1,19.34,29.25)])
R(straight_route_abc1426a, met2, [(19.1,29.01,19.43,29.34)])

unnamed_d28c174d_1 = lib.new_cell('Unnamed_d28c174d$1')
A(unnamed_d28c174d_1, diff, -4.705, -7.015, 0.41, 0.41, 19, 2, 0.5, 13.62)
A(unnamed_d28c174d_1, diff, -5.535, -6.205, 0.41, 0.41, 1, 25, 0, 0.5)
A(unnamed_d28c174d_1, diff, 5.125, -6.205, 0.41, 0.41, 1, 25, 0, 0.5)
R(unnamed_d28c174d_1, diff, [(-4.705,-7.015,4.705,-6.605), (-5.535,-6.205,-5.125,6.205), (5.125,-6.205,5.535,6.205), (-4.705,6.605,4.705,7.015)])
P(unnamed_d28c174d_1, diff, [(5.535,7.015),(-5.535,7.015),(-5.535,-6.605),(-5.125,-6.605),(-5.125,6.605),(5.125,6.605),(5.125,-6.605),(-5.125,-6.605),(-5.535,-6.605),(-5.535,-7.015),(5.535,-7.015)])
A(unnamed_d28c174d_1, licon, -4.585, -6.895, 0.17, 0.17, 19, 2, 0.5, 13.62)
A(unnamed_d28c174d_1, licon, -5.415, -6.085, 0.17, 0.17, 1, 25, 0, 0.5)
A(unnamed_d28c174d_1, licon, 5.245, -6.085, 0.17, 0.17, 1, 25, 0, 0.5)
A(unnamed_d28c174d_1, li1, -4.665, -6.975, 0.33, 0.33, 19, 2, 0.5, 13.62)
A(unnamed_d28c174d_1, li1, -5.495, -6.165, 0.33, 0.33, 1, 25, 0, 0.5)
A(unnamed_d28c174d_1, li1, 5.165, -6.165, 0.33, 0.33, 1, 25, 0, 0.5)
R(unnamed_d28c174d_1, li1, [(-4.665,-6.975,4.665,-6.645), (-5.495,-6.165,-5.165,6.165), (5.165,-6.165,5.495,6.165), (-4.665,6.645,4.665,6.975)])
A(unnamed_d28c174d_1, mcon, -4.585, -6.895, 0.17, 0.17, 19, 2, 0.5, 13.62)
A(unnamed_d28c174d_1, mcon, -5.415, -6.085, 0.17, 0.17, 1, 25, 0, 0.5)
A(unnamed_d28c174d_1, mcon, 5.245, -6.085, 0.17, 0.17, 1, 25, 0, 0.5)
A(unnamed_d28c174d_1, met1, -4.645, -6.955, 0.29, 0.29, 19, 2, 0.5, 13.62)
A(unnamed_d28c174d_1, met1, -5.475, -6.145, 0.29, 0.29, 1, 25, 0, 0.5)
A(unnamed_d28c174d_1, met1, 5.185, -6.145, 0.29, 0.29, 1, 25, 0, 0.5)
R(unnamed_d28c174d_1, met1, [(-5.535,-7.015,-5.125,-6.605), (-5.535,-7.015,-5.125,-6.605), (-5.125,-7.015,5.125,-6.605), (5.125,-7.015,5.535,-6.605), (5.125,-7.015,5.535,-6.605), (-5.535,-6.605,-5.125,6.605), (5.125,-6.605,5.535,6.605), (-5.535,6.605,-5.125,7.015), (-5.535,6.605,-5.125,7.015), (-5.125,6.605,5.125,7.015), (5.125,6.605,5.535,7.015), (5.125,6.605,5.535,7.015)])
P(unnamed_d28c174d_1, psdm, [(5.665,7.145),(-5.665,7.145),(-5.665,-6.475),(-4.995,-6.475),(-4.995,6.475),(4.995,6.475),(4.995,-6.475),(-4.995,-6.475),(-5.665,-6.475),(-5.665,-7.145),(5.665,-7.145)])

straight_route_9ce409a7 = lib.new_cell('straight_route_9ce409a7')
R(straight_route_9ce409a7, li1, [(-5.535,-4.34,-3.74,-4.01)])

straight_route_08e1c8cc = lib.new_cell('straight_route_08e1c8cc')
R(straight_route_08e1c8cc, li1, [(3.74,-4.34,5.535,-4.01)])

c_route_d8437434 = lib.new_cell('c_route_d8437434')
R(c_route_d8437434, met2, [(3.315,-6.145,3.895,-5.565), (1.655,-6.07,4.355,-5.64), (3.315,-4.915,3.895,-4.335), (1.655,-4.84,4.355,-4.41)])
R(c_route_d8437434, via2, [(3.505,-5.955,3.705,-5.755), (3.505,-4.725,3.705,-4.525)])
R(c_route_d8437434, met3, [(2.855,-6.605,4.355,-5.105), (2.855,-6.605,4.355,-5.105), (3.39,-6.605,3.82,-3.875), (3.82,-6.605,4.355,-5.105), (2.855,-5.375,4.355,-3.875), (2.855,-5.375,4.355,-3.875), (3.82,-5.375,4.355,-3.875)])

l_route_8e97e3e0 = lib.new_cell('L_route_8e97e3e0')
R(l_route_8e97e3e0, met2, [(1.985,2.595,3.82,3.455), (3.315,2.735,3.895,3.315)])
R(l_route_8e97e3e0, via2, [(3.505,2.925,3.705,3.125)])
R(l_route_8e97e3e0, met3, [(3.39,-3.875,3.82,3.455), (2.855,2.275,4.355,3.775), (2.855,2.275,4.355,3.775)])

c_route_0af4c154 = lib.new_cell('c_route_0af4c154')
R(c_route_0af4c154, met2, [(-3.885,1.455,-1.985,2.315), (-3.425,1.915,-2.845,2.495), (-3.425,3.895,-2.845,4.475), (-3.885,4.075,-1.985,4.935)])
R(c_route_0af4c154, via2, [(-3.235,2.105,-3.035,2.305), (-3.235,4.085,-3.035,4.285)])
R(c_route_0af4c154, met3, [(-3.885,1.455,-2.385,2.955), (-3.885,1.455,-2.385,2.955), (-3.565,1.455,-2.705,4.935), (-2.705,1.455,-2.385,2.955), (-3.885,3.435,-2.385,4.935), (-3.885,3.435,-2.385,4.935), (-2.705,3.435,-2.385,4.935)])

transformed_1f5fa1ab = lib.new_cell('transformed_1f5fa1ab')
R(transformed_1f5fa1ab, pwell, [(-5.845,-7.325,5.845,7.325)])
R(transformed_1f5fa1ab, diff, [(-4.465,-3.76,-2.685,1.24), (-2.045,-3.76,-0.265,1.24), (0.265,-3.76,2.045,1.24), (2.685,-3.76,4.465,1.24)])
R(transformed_1f5fa1ab, poly, [(0.655,-6.07,1.655,-5.64), (0.99,-6.02,1.32,-5.69), (-1.655,-5.855,-0.655,-4.01), (0.655,-5.64,1.655,-4.01), (-1.655,-4.84,-0.655,-4.41), (-1.32,-4.79,-0.99,-4.46), (-1.655,-4.41,-0.655,-4.01), (-3.74,-4.34,-3.41,-4.01), (-3.74,-4.34,-3.41,-4.01), (3.41,-4.34,3.74,-4.01), (3.41,-4.34,3.74,-4.01), (-4.075,-4.01,-3.075,1.49), (-1.655,-4.01,-0.655,1.49), (0.655,-4.01,1.655,1.49), (3.075,-4.01,4.075,1.49)])
A(transformed_1f5fa1ab, licon, -4.325, -3.385, 0.17, 0.17, 1, 13, 0, 0.34)
A(transformed_1f5fa1ab, licon, -2.995, -3.385, 0.17, 0.17, 1, 13, 0, 0.34)
A(transformed_1f5fa1ab, licon, -1.905, -3.385, 0.17, 0.17, 1, 13, 0, 0.34)
A(transformed_1f5fa1ab, licon, -0.575, -3.385, 0.17, 0.17, 1, 13, 0, 0.34)
A(transformed_1f5fa1ab, licon, 0.405, -3.385, 0.17, 0.17, 1, 13, 0, 0.34)
A(transformed_1f5fa1ab, licon, 1.735, -3.385, 0.17, 0.17, 1, 13, 0, 0.34)
A(transformed_1f5fa1ab, licon, 2.825, -3.385, 0.17, 0.17, 1, 13, 0, 0.34)
A(transformed_1f5fa1ab, licon, 4.155, -3.385, 0.17, 0.17, 1, 13, 0, 0.34)
R(transformed_1f5fa1ab, licon, [(1.07,-5.94,1.24,-5.77), (-1.24,-4.71,-1.07,-4.54), (-3.66,-4.26,-3.49,-4.09), (3.49,-4.26,3.66,-4.09)])
A(transformed_1f5fa1ab, li1, -1.905, -3.505, 0.17, 0.17, 1, 13, 0, 0.36)
A(transformed_1f5fa1ab, li1, -0.575, -3.505, 0.17, 0.17, 1, 13, 0, 0.36)
A(transformed_1f5fa1ab, li1, 0.405, -3.505, 0.17, 0.17, 1, 13, 0, 0.36)
A(transformed_1f5fa1ab, li1, 1.735, -3.505, 0.17, 0.17, 1, 13, 0, 0.36)
A(transformed_1f5fa1ab, li1, -4.405, -3.465, 0.33, 0.33, 1, 13, 0, 0.34)
A(transformed_1f5fa1ab, li1, -3.075, -3.465, 0.33, 0.33, 1, 13, 0, 0.34)
A(transformed_1f5fa1ab, li1, -1.985, -3.465, 0.33, 0.33, 1, 13, 0, 0.34)
A(transformed_1f5fa1ab, li1, -0.655, -3.465, 0.33, 0.33, 1, 13, 0, 0.34)
A(transformed_1f5fa1ab, li1, 0.325, -3.465, 0.33, 0.33, 1, 13, 0, 0.34)
A(transformed_1f5fa1ab, li1, 1.655, -3.465, 0.33, 0.33, 1, 13, 0, 0.34)
A(transformed_1f5fa1ab, li1, 2.745, -3.465, 0.33, 0.33, 1, 13, 0, 0.34)
A(transformed_1f5fa1ab, li1, 4.075, -3.465, 0.33, 0.33, 1, 13, 0, 0.34)
R(transformed_1f5fa1ab, li1, [(0.99,-6.02,1.32,-5.69), (-1.32,-4.79,-0.99,-4.46), (-4.405,-4.34,-3.74,-4.01), (-4.405,-4.34,-4.075,-3.76), (-3.74,-4.34,-3.41,-4.01), (-3.41,-4.34,-2.745,-4.01), (-3.075,-4.34,-2.745,-3.76), (2.745,-4.34,3.41,-4.01), (2.745,-4.34,3.075,-3.76), (3.41,-4.34,3.74,-4.01), (3.74,-4.34,4.405,-4.01), (4.075,-4.34,4.405,-3.76), (-4.405,-3.76,-4.075,1.24), (-3.075,-3.76,-2.745,1.24), (-1.985,-3.76,-1.655,1.24), (-0.655,-3.76,-0.325,1.24), (0.325,-3.76,0.655,1.24), (1.655,-3.76,1.985,1.24), (2.745,-3.76,3.075,1.24), (4.075,-3.76,4.405,1.24), (-1.905,-3.505,-1.735,0.985), (-0.575,-3.505,-0.405,0.985), (0.405,-3.505,0.575,0.985), (1.735,-3.505,1.905,0.985), (-1.985,1.24,-1.655,1.97), (-1.985,1.24,-1.655,5.645), (-0.655,1.24,-0.325,3.11), (-0.655,1.24,-0.325,5.645), (0.325,1.24,0.655,4.59), (0.325,1.24,0.655,5.645), (1.655,1.24,1.985,5.73), (1.655,1.24,1.985,5.645), (-1.905,1.8,-1.735,1.97), (-0.575,2.94,-0.405,3.11), (0.405,4.42,0.575,4.59), (1.735,5.56,1.905,5.73)])
A(transformed_1f5fa1ab, mcon, -1.905, -3.505, 0.17, 0.17, 1, 13, 0, 0.36)
A(transformed_1f5fa1ab, mcon, -0.575, -3.505, 0.17, 0.17, 1, 13, 0, 0.36)
A(transformed_1f5fa1ab, mcon, 0.405, -3.505, 0.17, 0.17, 1, 13, 0, 0.36)
A(transformed_1f5fa1ab, mcon, 1.735, -3.505, 0.17, 0.17, 1, 13, 0, 0.36)
R(transformed_1f5fa1ab, mcon, [(1.07,-5.94,1.24,-5.77), (-1.24,-4.71,-1.07,-4.54), (-1.905,1.8,-1.735,1.97), (-0.575,2.94,-0.405,3.11), (0.405,4.42,0.575,4.59), (1.735,5.56,1.905,5.73)])
A(transformed_1f5fa1ab, met1, -1.965, -3.565, 0.29, 0.29, 1, 13, 0, 0.36)
A(transformed_1f5fa1ab, met1, -0.635, -3.565, 0.29, 0.29, 1, 13, 0, 0.36)
A(transformed_1f5fa1ab, met1, 0.345, -3.565, 0.29, 0.29, 1, 13, 0, 0.36)
A(transformed_1f5fa1ab, met1, 1.675, -3.565, 0.29, 0.29, 1, 13, 0, 0.36)
R(transformed_1f5fa1ab, met1, [(0.94,-6.07,1.37,-5.64), (-1.37,-4.84,-0.94,-4.41), (-1.965,-3.76,-1.675,1.24), (-0.635,-3.76,-0.345,1.24), (0.345,-3.76,0.635,1.24), (1.675,-3.76,1.965,1.24), (-2.035,1.67,-1.605,2.1), (-0.705,2.81,-0.275,3.24), (0.275,4.29,0.705,4.72), (1.605,5.43,2.035,5.86)])
R(transformed_1f5fa1ab, via, [(1.08,-5.93,1.23,-5.78), (-1.23,-4.7,-1.08,-4.55), (-1.895,1.81,-1.745,1.96), (-0.565,2.95,-0.415,3.1), (0.415,4.43,0.565,4.58), (1.745,5.57,1.895,5.72)])
R(transformed_1f5fa1ab, met2, [(-1.655,-6.07,1.655,-5.64), (0.655,-6.07,1.655,-5.64), (0.99,-6.02,1.32,-5.69), (-1.655,-4.84,-0.655,-4.41), (-1.655,-4.84,1.655,-4.41), (-1.32,-4.79,-0.99,-4.46), (-1.985,1.455,-0.325,2.315), (-1.985,1.455,1.985,2.315), (-1.985,1.72,-1.655,2.05), (-1.985,2.595,-0.325,3.455), (-1.985,2.595,1.985,3.455), (-0.655,2.86,-0.325,3.19), (-1.985,4.075,1.985,4.935), (0.325,4.075,1.985,4.935), (0.325,4.34,0.655,4.67), (-1.985,5.215,1.985,6.075), (0.325,5.215,1.985,6.075), (1.655,5.48,1.985,5.81)])
R(transformed_1f5fa1ab, nsdm, [(-4.595,-3.89,-2.555,1.37), (-2.175,-3.89,-0.135,1.37), (-2.175,-3.89,2.175,1.37), (0.135,-3.89,2.175,1.37), (2.555,-3.89,4.595,1.37)])
R(transformed_1f5fa1ab, npc, [(0.97,-6.04,1.34,-5.67), (-1.34,-4.81,-0.97,-4.44), (-3.76,-4.36,-3.39,-3.99), (3.39,-4.36,3.76,-3.99)])
transformed_1f5fa1ab.add(gdstk.Reference(unnamed_d28c174d_1, (0,0)))
transformed_1f5fa1ab.add(gdstk.Reference(straight_route_9ce409a7, (0,0)))
transformed_1f5fa1ab.add(gdstk.Reference(straight_route_08e1c8cc, (0,0)))
transformed_1f5fa1ab.add(gdstk.Reference(c_route_d8437434, (0,0)))
transformed_1f5fa1ab.add(gdstk.Reference(l_route_8e97e3e0, (0,0)))
transformed_1f5fa1ab.add(gdstk.Reference(c_route_0af4c154, (0,0)))

temp_diffpair_and_curren = lib.new_cell('temp_diffpair_and_current_source')
temp_diffpair_and_curren.add(gdstk.Reference(diff_pair_f8a0ee7f, (0,-0.215)))
temp_diffpair_and_curren.add(gdstk.Reference(unnamed_bedca69d, (-16.42,28.385)))
temp_diffpair_and_curren.add(gdstk.Reference(unnamed_bedca69d, (15.85,28.385)))
temp_diffpair_and_curren.add(gdstk.Reference(l_route_74e29d9d, (0,0)))
temp_diffpair_and_curren.add(gdstk.Reference(l_route_fec48ba7, (0,0)))
temp_diffpair_and_curren.add(gdstk.Reference(straight_route_359b4630, (0,0)))
temp_diffpair_and_curren.add(gdstk.Reference(straight_route_abc1426a, (0,0)))
temp_diffpair_and_curren.add(gdstk.Reference(transformed_1f5fa1ab, (0,-34.5)))

lib.write_gds('temp_diffpair_and_current_source.gds')
